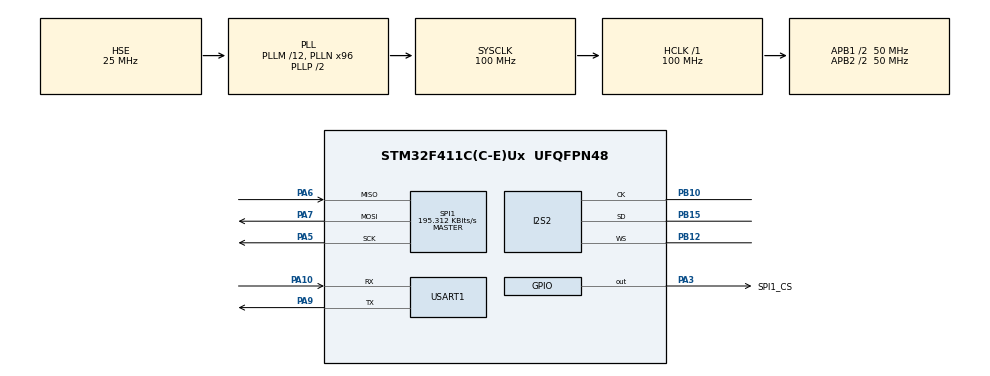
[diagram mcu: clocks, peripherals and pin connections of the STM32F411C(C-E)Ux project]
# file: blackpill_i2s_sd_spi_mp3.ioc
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Dma.Request0=USART1_RX
Dma.Request1=SPI2_TX
Dma.SPI2_TX.1.Direction=DMA_MEMORY_TO_PERIPH
Dma.SPI2_TX.1.FIFOMode=DMA_FIFOMODE_DISABLE
Dma.SPI2_TX.1.Instance=DMA1_Stream4
Dma.SPI2_TX.1.MemDataAlignment=DMA_MDATAALIGN_BYTE
Dma.SPI2_TX.1.MemInc=DMA_MINC_ENABLE
Dma.SPI2_TX.1.Mode=DMA_CIRCULAR
Dma.SPI2_TX.1.PeriphDataAlignment=DMA_PDATAALIGN_BYTE
Dma.SPI2_TX.1.PeriphInc=DMA_PINC_DISABLE
Dma.SPI2_TX.1.Priority=DMA_PRIORITY_LOW
Dma.USART1_RX.0.Direction=DMA_PERIPH_TO_MEMORY
Dma.USART1_RX.0.FIFOMode=DMA_FIFOMODE_DISABLE
Dma.USART1_RX.0.Instance=DMA2_Stream2
Dma.USART1_RX.0.MemDataAlignment=DMA_MDATAALIGN_BYTE
Dma.USART1_RX.0.MemInc=DMA_MINC_ENABLE
Dma.USART1_RX.0.Mode=DMA_NORMAL
Dma.USART1_RX.0.PeriphDataAlignment=DMA_PDATAALIGN_BYTE
Dma.USART1_RX.0.PeriphInc=DMA_PINC_DISABLE
Dma.USART1_RX.0.Priority=DMA_PRIORITY_LOW
FATFS._FS_EXFAT=1
FATFS._USE_CHMOD=1
FATFS._USE_EXPAND=1
FATFS._USE_FIND=1
FATFS._USE_FORWARD=1
FATFS._USE_LABEL=1
FATFS._USE_LFN=1
I2S2.AudioFreq=I2S_AUDIOFREQ_96K
I2S2.ErrorAudioFreq=-0.35 %
I2S2.FullDuplexMode=I2S_FULLDUPLEXMODE_DISABLE
I2S2.Instance=SPI$Index
I2S2.RealAudioFreq=95.663 KHz
I2S2.VirtualMode=I2S_MODE_MASTER
Mcu.Family=STM32F4
Mcu.Name=STM32F411C(C-E)Ux
Mcu.Package=UFQFPN48
NVIC.DMA1_Stream4_IRQn=true\:0\:0\:false\:false\:true\:false\:true\:true
NVIC.DMA2_Stream2_IRQn=true\:0\:0\:false\:false\:true\:false\:true\:true
NVIC.PriorityGroup=NVIC_PRIORITYGROUP_4
NVIC.SPI1_IRQn=true\:0\:0\:false\:false\:true\:true\:true\:true
NVIC.USART1_IRQn=true\:0\:0\:false\:false\:true\:true\:true\:true
PA10.Mode=Asynchronous
PA10.Signal=USART1_RX
PA13.Mode=Serial_Wire
PA13.Signal=SYS_JTMS-SWDIO
PA14.Mode=Serial_Wire
PA14.Signal=SYS_JTCK-SWCLK
PA3.GPIO_Label=SPI1_CS
PA3.GPIO_PuPd=GPIO_PULLUP
PA3.PinState=GPIO_PIN_SET
PA3.Signal=GPIO_Output
PA5.Mode=Full_Duplex_Master
PA5.Signal=SPI1_SCK
PA6.Mode=Full_Duplex_Master
PA6.Signal=SPI1_MISO
PA7.Mode=Full_Duplex_Master
PA7.Signal=SPI1_MOSI
PA9.Mode=Asynchronous
PA9.Signal=USART1_TX
PB10.Mode=Half_Duplex_Master
PB10.Signal=I2S2_CK
PB12.Mode=Half_Duplex_Master
PB12.Signal=I2S2_WS
PB15.Mode=Half_Duplex_Master
PB15.Signal=I2S2_SD
PH0\ -\ OSC_IN.Mode=HSE-External-Oscillator
PH0\ -\ OSC_IN.Signal=RCC_OSC_IN
PH1\ -\ OSC_OUT.Mode=HSE-External-Oscillator
PH1\ -\ OSC_OUT.Signal=RCC_OSC_OUT
ProjectManager.HeapSize=0x200
ProjectManager.StackSize=0x400
ProjectManager.TargetToolchain=STM32CubeIDE
RCC.48MHZClocksFreq_Value=50000000
RCC.AHBFreq_Value=100000000
RCC.APB1CLKDivider=RCC_HCLK_DIV2
RCC.APB1Freq_Value=50000000
RCC.APB1TimFreq_Value=100000000
RCC.APB2CLKDivider=RCC_HCLK_DIV2
RCC.APB2Freq_Value=50000000
RCC.APB2TimFreq_Value=100000000
RCC.CortexFreq_Value=100000000
RCC.HCLKFreq_Value=100000000
RCC.HSE_VALUE=25000000
RCC.HSI_VALUE=16000000
RCC.LSE_VALUE=32768
RCC.PLLM=12
RCC.PLLN=96
RCC.PLLSourceVirtual=RCC_PLLSOURCE_HSE
RCC.SYSCLKFreq_VALUE=100000000
RCC.SYSCLKSource=RCC_SYSCLKSOURCE_PLLCLK
RCC.VCOOutputFreq_Value=200000000
SPI1.BaudRatePrescaler=SPI_BAUDRATEPRESCALER_256
SPI1.CalculateBaudRate=195.312 KBits/s
SPI1.Direction=SPI_DIRECTION_2LINES
SPI1.Mode=SPI_MODE_MASTER
SPI1.VirtualType=VM_MASTER
USART1.VirtualMode=VM_ASYNC
VP_FATFS_VS_Generic.Mode=User_defined
board=custom

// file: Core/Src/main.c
/* USER CODE BEGIN Header */
/**
  ******************************************************************************
  * @file           : main.c
  * @brief          : Main program body
  ******************************************************************************
  * @attention
  *
  * Copyright (c) 2026 STMicroelectronics.
  * All rights reserved.
  *
  * This software is licensed under terms that can be found in the LICENSE file
  * in the root directory of this software component.
  * If no LICENSE file comes with this software, it is provided AS-IS.
  *
  ******************************************************************************
  */
/* USER CODE END Header */
#include "main.h"
#include "fatfs.h"

/* USER CODE BEGIN Includes */
#include <stdio.h>
#include <string.h>

/* USER CODE END Includes */

/* USER CODE BEGIN PTD */
typedef struct {
    uint16_t format;
    uint16_t channels;
    uint32_t frequency;
    uint32_t bytes_per_sec;
    uint16_t bytes_per_block;
    uint16_t bits_per_sample;
} fmt_typedef;

/* USER CODE END PTD */

/* USER CODE BEGIN PD */
#define I2S_DMA_BUFFER_SAMPLES 256
#define I2S_DMA_BUFFER_SIZE 2 * 2 * I2S_DMA_BUFFER_SAMPLES // 2 full buffers L+R samples
#define SAMPLE_FREQ 96000
#define OUTPUT_MID 32768

/* USER CODE END PD */

I2S_HandleTypeDef hi2s2;
DMA_HandleTypeDef hdma_spi2_tx;

SPI_HandleTypeDef hspi1;

UART_HandleTypeDef huart1;
DMA_HandleTypeDef hdma_usart1_rx;

/* USER CODE BEGIN PV */

const char total_uptime_filename[] = "uptime.dat";

float amplifier = 0.5;

int8_t usart_rx_buffer[16];

int16_t i2s_dma_buffer[I2S_DMA_BUFFER_SIZE];
int16_t *do_buffer;

uint32_t buffers_done;
uint32_t total_uptime;

uint8_t open_next_file = 1;

FRESULT res;
DIR dir;
FIL music_file;
FILINFO music_file_info;

/* USER CODE END PV */

void SystemClock_Config(void);
static void MX_GPIO_Init(void);
static void MX_DMA_Init(void);
static void MX_USART1_UART_Init(void);
static void MX_SPI1_Init(void);
static void MX_I2S2_Init(void);

/* USER CODE BEGIN 0 */
int _write(int fd, char* ptr, int len) {
  HAL_StatusTypeDef hstatus;

  if (fd == 1 || fd == 2) {
    hstatus = HAL_UART_Transmit(&huart1, (uint8_t *) ptr, len, HAL_MAX_DELAY);
    if (hstatus == HAL_OK)
      return len;
    else
      return -1;
  }
  return -1;
}
//void HAL_GPIO_EXTI_Callback(uint16_t GPIO_Pin) {
//    if (GPIO_Pin == BTN_Pin) {
//
//        printf("BTN ");
//        GPIO_PinState pin_state = HAL_GPIO_ReadPin(BTN_GPIO_Port, BTN_Pin);
//
//        if (pin_state == GPIO_PIN_RESET) {
//            printf("released\n");
//            open_next_file = 1;
//            //new_btn_state = 1;
//        } else {
//            printf("pressed\n");
//            //new_btn_state = 0;
//        }
//
//    }
//}

void set_i2s_freq(uint32_t freq) {

    printf("Setting I2S sample frequency to: %lu\n", freq);

    // Stop the DMA transfers
    HAL_I2S_DMAStop(&hi2s2);

    // Deinit
    HAL_I2S_DeInit(&hi2s2);

    if (freq > 0) {

        hi2s2.Init.AudioFreq = freq;

        HAL_I2S_Init(&hi2s2);

        HAL_I2S_Transmit_DMA(&hi2s2, (uint16_t*) &i2s_dma_buffer, I2S_DMA_BUFFER_SIZE);

    }

}

void process_buffer(int16_t *target_buffer) {

    int16_t buf[2 * I2S_DMA_BUFFER_SAMPLES] = { 0 };
    unsigned int bytes_read = 0;

    if (f_read(&music_file, &buf, sizeof(buf), &bytes_read) == FR_OK) {

        for (int i = 0; i < 2 * I2S_DMA_BUFFER_SAMPLES; ++i) {
            buf[i] = buf[i] * amplifier;
        }

        memcpy(target_buffer, buf, sizeof(buf));

        if (bytes_read < sizeof(buf)) {

            printf("File done!\n");

            set_i2s_freq(0);

            open_next_file = 1;
        }

    }

}

void HAL_I2S_TxCpltCallback(I2S_HandleTypeDef *hi2s) {
    do_buffer = &i2s_dma_buffer[2 * I2S_DMA_BUFFER_SAMPLES]; // Second half
}

void HAL_I2S_TxHalfCpltCallback(I2S_HandleTypeDef *hi2s) {
    do_buffer = &i2s_dma_buffer[0]; // First half
}

void process_character(char ch) {

    switch (ch) {
    case 'e':
        amplifier += 0.01;
        if (amplifier > 1)
            amplifier = 1;
        printf("Amp = %0.2f\n", amplifier);
        break;
    case 'd':
        amplifier -= 0.01;
        if (amplifier < 0)
            amplifier = 0;
        printf("Amp = %0.2f\n", amplifier);
        break;
    case 'f':
        open_next_file = 1;
        break;
    }

}

/**
 * @brief  UART Event Callback.  Fired on idle or if dma buffer half full or full.
 * @param  huart  Pointer to a UART_HandleTypeDef structure that contains
 *                the configuration information for the specified UART module.
 * @param  offset A offset counter pointing to last valid character in DMA buffer.
 * @retval None
 */
void HAL_UARTEx_RxEventCallback(UART_HandleTypeDef *huart, uint16_t offset) {

    static uint16_t last_offset = 0;

    // Ignore if called twice (which will happen on every half buffer)
    if (offset != last_offset) {

        // If wrap around reset last_size
        if (offset < last_offset)
            last_offset = 0;

        while (last_offset < offset) {
            process_character((char) usart_rx_buffer[last_offset]);
            ++last_offset;
        }

    }

}

//uint8_t BSP_SD_IsDetected(void)
//{
//    __IO uint8_t status = SD_PRESENT;
//
//    if (HAL_GPIO_ReadPin(SD_DETECT_GPIO_PORT, SD_DETECT_PIN) != GPIO_PIN_RESET) {
//        status = SD_NOT_PRESENT;
//    }
//
//    return status;
//}

FRESULT parse_wav_header(FIL *f, fmt_typedef *format) {

    char buf[512];  // 512 bytes for header - enough?
    unsigned int n;

    if (f_read(f, &buf, sizeof(buf), &n) != FR_OK && n < sizeof(buf)) {
        printf("Read error\n");
        return FR_INT_ERR;
    }

    printf("Read %d characters\n", n);

    // Ensure null terminated
    buf[sizeof(buf) - 1] = 0;

    if (strstr(buf, "RIFF") != &buf[0]) {
        printf("File is not a RIFF file\n");
        return FR_INT_ERR;
    }

    //char *ch = strstr(buf, "WAVEfmt ");

    if (strstr(buf, "WAVEfmt ") != &buf[8]) {
        printf("Can't find WAVE fmt\n");
        return FR_INT_ERR;
    }

    memcpy(format, &buf[20], sizeof(fmt_typedef));

    //char *data_pos = strstr(buf, "data"); // Consistantly fails
    int data_offset = 0;
    for (size_t i = 0; i <= sizeof(buf) - 4; ++i) {
        if (memcmp(buf + i, "data", 4) == 0) {
            data_offset = i;
            break; // Found it, so exit the loop
        }
    }

    if (data_offset == 0) {
        printf("Can not find data\n");
        return FR_INT_ERR;
    }

    printf("Data offset: %u\n", data_offset);

    if (f_lseek(f, data_offset) != FR_OK) {
        printf("Can not seek\n");
        return FR_INT_ERR;
    }

    data_offset = f_tell(f);

    printf("File pos = %d\n", data_offset);

    return FR_OK;
}

void list_wav_files(void) {
    DIR dir_list;
    FILINFO fno;
    FRESULT res;
    uint8_t count = 0;

    printf("\n=== WAV Files on SD Card ===\n");

    res = f_findfirst(&dir_list, &fno, "/", "*.wav");

    while (res == FR_OK && fno.fname[0] != '\0') {
        count++;
        printf("%d. %s (%lu bytes)\n", count, fno.fname, fno.fsize);
        res = f_findnext(&dir_list, &fno);
    }

    f_closedir(&dir_list);

    if (count == 0) {
        printf("  No WAV files found!\n");
        printf("Please copy .wav files to SD card root directory\n");
    } else {
        printf("Total: %d WAV files found\n", count);
    }

    printf("============================\n\n");
}

/* USER CODE END 0 */

int main(void)
{

  /* MCU Configuration--------------------------------------------------------*/

  /* Reset of all peripherals, Initializes the Flash interface and the Systick. */
  HAL_Init();

  /* Configure the system clock */
  SystemClock_Config();

  /* Initialize all configured peripherals */
  MX_GPIO_Init();
  MX_DMA_Init();
  MX_USART1_UART_Init();
  MX_SPI1_Init();
  MX_FATFS_Init();
  MX_I2S2_Init();
  /* USER CODE BEGIN 2 */

  printf("\r\n~ SD card demo by __kiwih__ ~\r\n\r\n");

  HAL_Delay(1000); //a short delay is important to let the SD card settle

  //some variables for FatFs
  FATFS FatFs;     //Fatfs handle
  //FIL fil;         //File handle
  FRESULT fres;    //Result after operations
  FIL music_file;
  FIL SDFile;
  UINT rbytes, wbytes;
  uint32_t total_uptime = 0;

  //  Mount filesystem (SPI still slow)
  fres = f_mount(&FatFs, "", 1);

  if (fres != FR_OK) {
      printf("f_mount error (%i)\r\n", fres);
      while(1);
  }

  printf("SD Mounted OK\n");

  // NOW increase SPI speed
  hspi1.Init.BaudRatePrescaler = SPI_BAUDRATEPRESCALER_4;
  if (HAL_SPI_Init(&hspi1) != HAL_OK) {
      printf("SPI speed increase failed\r\n");
      //  ERROR: Can't return -1 if this is in main() or void function
      // FIX: Use while(1) or Error_Handler() instead
      while(1);  // Changed from return -1
  }

  printf("SPI speed increased\n");

  //  Now safe to use filesystem at high speed
  DWORD free_clusters, free_sectors, total_sectors;
  FATFS* getFreeFs;

  fres = f_getfree("", &free_clusters, &getFreeFs);

  if (fres != FR_OK) {
      printf("f_getfree error (%i)\r\n", fres);
      while(1);
  }

  //Formula comes from ChaN's documentation
  total_sectors = (getFreeFs->n_fatent - 2) * getFreeFs->csize;
  free_sectors = free_clusters * getFreeFs->csize;

  printf("SD card stats:\r\n%10lu KiB total drive space.\r\n%10lu KiB available.\r\n", total_sectors / 2, free_sectors / 2);

  printf("\n\n---------------------\n");
  printf("Starting music player (SPI Mode)\n");

  // After this line:
  if (f_opendir(&dir, "/") != FR_OK) {
      printf("Failed to open root directory\r\n");
      while(1);
  }
  printf("Directory opened\n");

  printf("Directory opened\n");

  list_wav_files();

  //  ADD THIS: Load first WAV file automatically
  printf("Loading first WAV file...\n");
  res = f_findfirst(&dir, &music_file_info, "/", "*.wav");

  if (res == FR_OK && music_file_info.fname[0] != '\0') {
      printf("Found: %s\n", music_file_info.fname);
      open_next_file = 1;  // Trigger file opening in main loop
  } else {
      printf("No WAV files found - waiting...\n");
  }

  HAL_I2S_Transmit_DMA(&hi2s2, (uint16_t*) &i2s_dma_buffer, I2S_DMA_BUFFER_SIZE);

  HAL_UARTEx_ReceiveToIdle_DMA(&huart1, (uint8_t*) &usart_rx_buffer, sizeof(usart_rx_buffer));

           //Now let's try and write a file "write.txt"

  /* Make sure CS is HIGH before init */
//  HAL_GPIO_WritePin(GPIOA, GPIO_PIN_4, GPIO_PIN_SET);
//  HAL_Delay(10);

  /* Variables */
  //FRESULT fres;

  /* USER CODE END 2 */

  /* Infinite loop */
  /* USER CODE BEGIN WHILE */
   uint32_t now = 0, next_blink = 500, next_tick = 1000, loop_cnt = 0;
  while (1)
  {
    /* USER CODE END WHILE */

    /* USER CODE BEGIN 3 */
	  now = uwTick;

	          if (now >= next_tick) {

	              //printf("Tick %lu (loop=%lu bd=%lu)\n", now / 1000, loop_cnt, buffers_done);

	              if (((now / 1000) % 60) == 0) {

	                  ++total_uptime;

	                  printf("Updating total uptime to %lu minutes\n", total_uptime);

	                  // Update the total uptime file
	                  if (f_open(&SDFile, total_uptime_filename, FA_OPEN_EXISTING | FA_WRITE) == FR_OK) {
	                      if (f_write(&SDFile, &total_uptime, sizeof(total_uptime), (void*) &wbytes) != FR_OK) {
	                          printf("Unable to write\n");
	                      }
	                      f_close(&SDFile);
	                  } else {
	                      printf("Unable to open file\n");
	                  }

	              }

	              open_next_file = 0;

	              loop_cnt = 0;
	              next_tick = now + 1000;

	          }

	        	  if (open_next_file) {

	        	      f_close(&music_file);

	        	      // Try to find next WAV file
	        	      res = f_findnext(&dir, &music_file_info);

	        	      // If no more files or error, restart from beginning
	        	      if (res != FR_OK || music_file_info.fname[0] == '\0') {
	        	          printf("Restarting directory search...\n");

	        	          // Close and reopen directory
	        	          f_closedir(&dir);

	        	          if (f_opendir(&dir, "/") != FR_OK) {
	        	              printf("Failed to reopen directory\n");
	        	              open_next_file = 0;
	        	              continue;  // Skip this iteration
	        	          }

	        	          // Find first WAV file
	        	          res = f_findfirst(&dir, &music_file_info, "/", "*.wav");

	        	          if (res != FR_OK || music_file_info.fname[0] == '\0') {
	        	              printf("No WAV files found on SD card!\n");
	        	              open_next_file = 0;
	        	              continue;  // Skip this iteration
	        	          }
	        	      }

	        	      printf("Next file: %s\n", music_file_info.fname);

	        	      //  Try to open the file
	        	      if (f_open(&music_file, music_file_info.fname, FA_READ) != FR_OK) {
	        	          printf("Unable to open %s\n", music_file_info.fname);
	        	          open_next_file = 1;  // Try next file
	        	          continue;  // Skip this iteration
	        	      }

	        	      fmt_typedef wav_format;

	        	      if (parse_wav_header(&music_file, &wav_format) != FR_OK) {
	        	          printf("Unable to parse header for %s\n", music_file_info.fname);
	        	          f_close(&music_file);
	        	          open_next_file = 1;  // Try next file
	        	      } else {

	        	          printf("Wav format: %d\n", wav_format.format);
	        	          printf("Wav channels: %d\n", wav_format.channels);
	        	          printf("Wav frequency: %lu\n", wav_format.frequency);
	        	          printf("Wav bytes per sec: %lu\n", wav_format.bytes_per_sec);
	        	          printf("Wav bytes per block: %d\n", wav_format.bytes_per_block);
	        	          printf("Wav bits per sample: %d\n", wav_format.bits_per_sample);

	        	          set_i2s_freq(wav_format.frequency);

	        	          open_next_file = 0;
	        	      }

	        	  }

	          if (do_buffer) {

	              process_buffer(do_buffer);

	              ++buffers_done;
	              do_buffer = 0;
	          }

	          ++loop_cnt;
  }
  /* USER CODE END 3 */
}

void SystemClock_Config(void)
{
  RCC_OscInitTypeDef RCC_OscInitStruct = {0};
  RCC_ClkInitTypeDef RCC_ClkInitStruct = {0};

  /** Configure the main internal regulator output voltage
  */
  __HAL_RCC_PWR_CLK_ENABLE();
  __HAL_PWR_VOLTAGESCALING_CONFIG(PWR_REGULATOR_VOLTAGE_SCALE1);

  /** Initializes the RCC Oscillators according to the specified parameters
  * in the RCC_OscInitTypeDef structure.
  */
  RCC_OscInitStruct.OscillatorType = RCC_OSCILLATORTYPE_HSE;
  RCC_OscInitStruct.HSEState = RCC_HSE_ON;
  RCC_OscInitStruct.PLL.PLLState = RCC_PLL_ON;
  RCC_OscInitStruct.PLL.PLLSource = RCC_PLLSOURCE_HSE;
  RCC_OscInitStruct.PLL.PLLM = 12;
  RCC_OscInitStruct.PLL.PLLN = 96;
  RCC_OscInitStruct.PLL.PLLP = RCC_PLLP_DIV2;
  RCC_OscInitStruct.PLL.PLLQ = 4;
  if (HAL_RCC_OscConfig(&RCC_OscInitStruct) != HAL_OK)
  {
    Error_Handler();
  }

  /** Initializes the CPU, AHB and APB buses clocks
  */
  RCC_ClkInitStruct.ClockType = RCC_CLOCKTYPE_HCLK|RCC_CLOCKTYPE_SYSCLK
                              |RCC_CLOCKTYPE_PCLK1|RCC_CLOCKTYPE_PCLK2;
  RCC_ClkInitStruct.SYSCLKSource = RCC_SYSCLKSOURCE_PLLCLK;
  RCC_ClkInitStruct.AHBCLKDivider = RCC_SYSCLK_DIV1;
  RCC_ClkInitStruct.APB1CLKDivider = RCC_HCLK_DIV2;
  RCC_ClkInitStruct.APB2CLKDivider = RCC_HCLK_DIV2;

  if (HAL_RCC_ClockConfig(&RCC_ClkInitStruct, FLASH_LATENCY_3) != HAL_OK)
  {
    Error_Handler();
  }
}

static void MX_I2S2_Init(void)
{

  hi2s2.Instance = SPI2;
  hi2s2.Init.Mode = I2S_MODE_MASTER_TX;
  hi2s2.Init.Standard = I2S_STANDARD_PHILIPS;
  hi2s2.Init.DataFormat = I2S_DATAFORMAT_16B;
  hi2s2.Init.MCLKOutput = I2S_MCLKOUTPUT_DISABLE;
  hi2s2.Init.AudioFreq = I2S_AUDIOFREQ_96K;
  hi2s2.Init.CPOL = I2S_CPOL_LOW;
  hi2s2.Init.ClockSource = I2S_CLOCK_PLL;
  hi2s2.Init.FullDuplexMode = I2S_FULLDUPLEXMODE_DISABLE;
  if (HAL_I2S_Init(&hi2s2) != HAL_OK)
  {
    Error_Handler();
  }

}

static void MX_SPI1_Init(void)
{

  /* SPI1 parameter configuration*/
  hspi1.Instance = SPI1;
  hspi1.Init.Mode = SPI_MODE_MASTER;
  hspi1.Init.Direction = SPI_DIRECTION_2LINES;
  hspi1.Init.DataSize = SPI_DATASIZE_8BIT;
  hspi1.Init.CLKPolarity = SPI_POLARITY_LOW;
  hspi1.Init.CLKPhase = SPI_PHASE_1EDGE;
  hspi1.Init.NSS = SPI_NSS_SOFT;
  hspi1.Init.BaudRatePrescaler = SPI_BAUDRATEPRESCALER_256;
  hspi1.Init.FirstBit = SPI_FIRSTBIT_MSB;
  hspi1.Init.TIMode = SPI_TIMODE_DISABLE;
  hspi1.Init.CRCCalculation = SPI_CRCCALCULATION_DISABLE;
  hspi1.Init.CRCPolynomial = 10;
  if (HAL_SPI_Init(&hspi1) != HAL_OK)
  {
    Error_Handler();
  }

}

static void MX_USART1_UART_Init(void)
{

  huart1.Instance = USART1;
  huart1.Init.BaudRate = 115200;
  huart1.Init.WordLength = UART_WORDLENGTH_8B;
  huart1.Init.StopBits = UART_STOPBITS_1;
  huart1.Init.Parity = UART_PARITY_NONE;
  huart1.Init.Mode = UART_MODE_TX_RX;
  huart1.Init.HwFlowCtl = UART_HWCONTROL_NONE;
  huart1.Init.OverSampling = UART_OVERSAMPLING_16;
  if (HAL_UART_Init(&huart1) != HAL_OK)
  {
    Error_Handler();
  }

}

static void MX_DMA_Init(void)
{

  /* DMA controller clock enable */
  __HAL_RCC_DMA2_CLK_ENABLE();
  __HAL_RCC_DMA1_CLK_ENABLE();

  /* DMA interrupt init */
  /* DMA1_Stream4_IRQn interrupt configuration */
  HAL_NVIC_SetPriority(DMA1_Stream4_IRQn, 0, 0);
  HAL_NVIC_EnableIRQ(DMA1_Stream4_IRQn);
  /* DMA2_Stream2_IRQn interrupt configuration */
  HAL_NVIC_SetPriority(DMA2_Stream2_IRQn, 0, 0);
  HAL_NVIC_EnableIRQ(DMA2_Stream2_IRQn);

}

static void MX_GPIO_Init(void)
{
  GPIO_InitTypeDef GPIO_InitStruct = {0};

  /* GPIO Ports Clock Enable */
  __HAL_RCC_GPIOH_CLK_ENABLE();
  __HAL_RCC_GPIOA_CLK_ENABLE();
  __HAL_RCC_GPIOB_CLK_ENABLE();

  /*Configure GPIO pin Output Level */
  HAL_GPIO_WritePin(SPI1_CS_GPIO_Port, SPI1_CS_Pin, GPIO_PIN_SET);

  /*Configure GPIO pin : SPI1_CS_Pin */
  GPIO_InitStruct.Pin = SPI1_CS_Pin;
  GPIO_InitStruct.Mode = GPIO_MODE_OUTPUT_PP;
  GPIO_InitStruct.Pull = GPIO_PULLUP;
  GPIO_InitStruct.Speed = GPIO_SPEED_FREQ_LOW;
  HAL_GPIO_Init(SPI1_CS_GPIO_Port, &GPIO_InitStruct);

}

void Error_Handler(void)
{
  __disable_irq();
  while (1)
  {
  }
}
